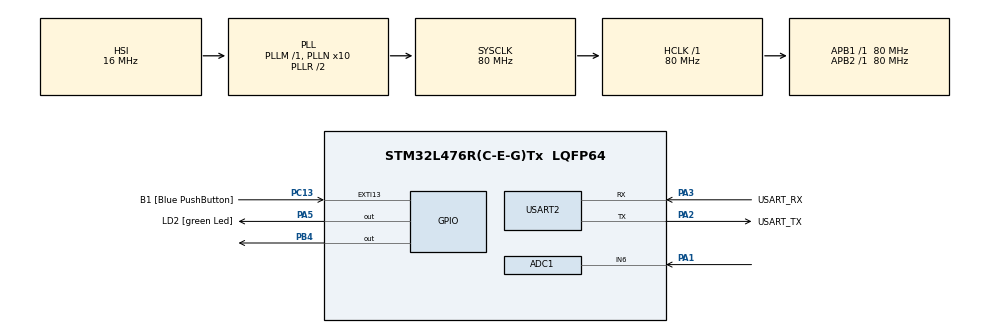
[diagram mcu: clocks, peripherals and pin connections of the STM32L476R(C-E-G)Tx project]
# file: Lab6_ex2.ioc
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ADC1.AWD1HighThreshold=3000
ADC1.AWD1ITMode=ENABLE
ADC1.AWD1LowThreshold=2200
ADC1.Channel-0\#ChannelRegularConversion=ADC_CHANNEL_6
ADC1.EnableAnalogWatchDog1=true
ADC1.NbrOfConversionFlag=1
ADC1.OffsetNumber-0\#ChannelRegularConversion=ADC_OFFSET_NONE
ADC1.Rank-0\#ChannelRegularConversion=1
ADC1.SamplingTime-0\#ChannelRegularConversion=ADC_SAMPLETIME_2CYCLES_5
ADC1.WatchdogChannel=ADC_CHANNEL_6
ADC1.master=1
Mcu.Family=STM32L4
Mcu.Name=STM32L476R(C-E-G)Tx
Mcu.Package=LQFP64
NVIC.ADC1_2_IRQn=true\:0\:0\:false\:false\:true\:true\:true\:true
NVIC.PriorityGroup=NVIC_PRIORITYGROUP_4
PA1.Signal=ADCx_IN6
PA13\ (JTMS-SWDIO).GPIO_Label=TMS
PA13\ (JTMS-SWDIO).Mode=Serial_Wire
PA13\ (JTMS-SWDIO).Signal=SYS_JTMS-SWDIO
PA14\ (JTCK-SWCLK).GPIO_Label=TCK
PA14\ (JTCK-SWCLK).Mode=Serial_Wire
PA14\ (JTCK-SWCLK).Signal=SYS_JTCK-SWCLK
PA2.GPIO_Label=USART_TX
PA2.GPIO_Mode=GPIO_MODE_AF_PP
PA2.GPIO_PuPd=GPIO_NOPULL
PA2.GPIO_Speed=GPIO_SPEED_FREQ_VERY_HIGH
PA2.Mode=Asynchronous
PA2.Signal=USART2_TX
PA3.GPIO_Label=USART_RX
PA3.GPIO_Mode=GPIO_MODE_AF_PP
PA3.GPIO_PuPd=GPIO_NOPULL
PA3.GPIO_Speed=GPIO_SPEED_FREQ_VERY_HIGH
PA3.Mode=Asynchronous
PA3.Signal=USART2_RX
PA5.GPIO_Label=LD2 [green Led]
PA5.GPIO_ModeDefaultOutputPP=GPIO_MODE_OUTPUT_PP
PA5.GPIO_PuPd=GPIO_NOPULL
PA5.GPIO_Speed=GPIO_SPEED_FREQ_LOW
PA5.Signal=GPIO_Output
PB3\ (JTDO-TRACESWO).GPIO_Label=SWO
PB3\ (JTDO-TRACESWO).Signal=SYS_JTDO-SWO
PB4\ (NJTRST).Signal=GPIO_Output
PC13.GPIO_Label=B1 [Blue PushButton]
PC13.GPIO_ModeDefaultEXTI=GPIO_MODE_IT_FALLING
PC13.GPIO_PuPd=GPIO_NOPULL
PC13.Signal=GPXTI13
PC14-OSC32_IN\ (PC14).Mode=LSE-External-Oscillator
PC14-OSC32_IN\ (PC14).Signal=RCC_OSC32_IN
PC15-OSC32_OUT\ (PC15).Mode=LSE-External-Oscillator
PC15-OSC32_OUT\ (PC15).Signal=RCC_OSC32_OUT
PH0-OSC_IN\ (PH0).Signal=RCC_OSC_IN
PH1-OSC_OUT\ (PH1).Signal=RCC_OSC_OUT
ProjectManager.HeapSize=0x200
ProjectManager.StackSize=0x400
ProjectManager.TargetToolchain=STM32CubeIDE
RCC.ADCFreq_Value=64000000
RCC.AHBFreq_Value=80000000
RCC.APB1Freq_Value=80000000
RCC.APB1TimFreq_Value=80000000
RCC.APB2Freq_Value=80000000
RCC.APB2TimFreq_Value=80000000
RCC.CortexFreq_Value=80000000
RCC.HCLKFreq_Value=80000000
RCC.HSE_VALUE=8000000
RCC.HSI_VALUE=16000000
RCC.MSI_VALUE=4000000
RCC.PLLN=10
RCC.PLLSourceVirtual=RCC_PLLSOURCE_HSI
RCC.PREFETCH_ENABLE=1
RCC.SYSCLKFreq_VALUE=80000000
RCC.SYSCLKSource=RCC_SYSCLKSOURCE_PLLCLK
RCC.USBFreq_Value=64000000
RCC.VCOOutputFreq_Value=160000000
SH.ADCx_IN6.0=ADC1_IN6,IN6-Single-Ended
USART2.VirtualMode-Asynchronous=VM_ASYNC
board=NUCLEO-L476RG

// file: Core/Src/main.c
/* USER CODE BEGIN Header */
/**
  ******************************************************************************
  * @file           : main.c
  * @brief          : Main program body
  ******************************************************************************
  * @attention
  *
  * Copyright (c) 2026 STMicroelectronics.
  * All rights reserved.
  *
  * This software is licensed under terms that can be found in the LICENSE file
  * in the root directory of this software component.
  * If no LICENSE file comes with this software, it is provided AS-IS.
  *
  ******************************************************************************
  */
/* USER CODE END Header */
#include "main.h"

/* USER CODE BEGIN Includes */
#include <stdio.h>
#include <string.h>
/* USER CODE END Includes */

ADC_HandleTypeDef hadc1;

UART_HandleTypeDef huart2;

void SystemClock_Config(void);
static void MX_GPIO_Init(void);
static void MX_USART2_UART_Init(void);
static void MX_ADC1_Init(void);
/* USER CODE BEGIN PFP */

//Global variables for ISR
volatile uint32_t g_ldr_count = 0; //volatile means it is a shared variable and therefore may change outside of the main code
volatile uint8_t g_ldr_event = 0;
volatile uint16_t g_adc_last = 0;
char msg[64];
//Read from ADC channel
uint32_t Read_ADC_Channel(uint32_t channel)
{
	ADC_ChannelConfTypeDef sConfig = {0};
	sConfig.Channel = channel;
	sConfig.Rank = ADC_REGULAR_RANK_1;
	sConfig.SamplingTime = ADC_SAMPLETIME_47CYCLES_5;
	HAL_ADC_ConfigChannel(&hadc1, &sConfig);
	HAL_ADC_Start(&hadc1);
	HAL_ADC_PollForConversion(&hadc1, HAL_MAX_DELAY);
	return HAL_ADC_GetValue(&hadc1);
}

//ADC ISR
void HAL_ADC_LevelOutOfWindowCallback(ADC_HandleTypeDef* hadc) {
	if (hadc->Instance == ADC1) {
	g_ldr_count++;
	g_ldr_event = 1; // flag for main loop
	}
}
//Short beep
void Buzzer_Beep(uint32_t ms) {
HAL_GPIO_WritePin(GPIOB, GPIO_PIN_4, GPIO_PIN_SET); // buzzer ON
HAL_Delay(ms);
HAL_GPIO_WritePin(GPIOB, GPIO_PIN_4, GPIO_PIN_RESET); // buzzer OFF
}

/* USER CODE END PFP */

int main(void)
{

  /* MCU Configuration--------------------------------------------------------*/

  /* Reset of all peripherals, Initializes the Flash interface and the Systick. */
  HAL_Init();

  /* Configure the system clock */
  SystemClock_Config();

  /* Initialize all configured peripherals */
  MX_GPIO_Init();
  MX_USART2_UART_Init();
  MX_ADC1_Init();

  /* Infinite loop */
  while (1)
  {

    /* USER CODE BEGIN 3 */

	  if (g_ldr_event)
	      {
	          g_ldr_event = 0;
	          g_adc_last = Read_ADC_Channel(ADC_CHANNEL_6);

	          Buzzer_Beep(50);

	          sprintf(msg, "LDR=%u  Count=%lu\r\n", g_adc_last, g_ldr_count);
	          HAL_UART_Transmit(&huart2, (uint8_t*)msg, strlen(msg), HAL_MAX_DELAY);
	      }
	      else
	      {
	          uint16_t adc = Read_ADC_Channel(ADC_CHANNEL_6);

	          sprintf(msg, "LDR=%u\r\n", adc);
	          HAL_UART_Transmit(&huart2, (uint8_t*)msg, strlen(msg), HAL_MAX_DELAY);

	          HAL_Delay(100);
	      }
  }
  /* USER CODE END 3 */
}

void SystemClock_Config(void)
{
  RCC_OscInitTypeDef RCC_OscInitStruct = {0};
  RCC_ClkInitTypeDef RCC_ClkInitStruct = {0};

  /** Configure the main internal regulator output voltage
  */
  if (HAL_PWREx_ControlVoltageScaling(PWR_REGULATOR_VOLTAGE_SCALE1) != HAL_OK)
  {
    Error_Handler();
  }

  /** Initializes the RCC Oscillators according to the specified parameters
  * in the RCC_OscInitTypeDef structure.
  */
  RCC_OscInitStruct.OscillatorType = RCC_OSCILLATORTYPE_HSI;
  RCC_OscInitStruct.HSIState = RCC_HSI_ON;
  RCC_OscInitStruct.HSICalibrationValue = RCC_HSICALIBRATION_DEFAULT;
  RCC_OscInitStruct.PLL.PLLState = RCC_PLL_ON;
  RCC_OscInitStruct.PLL.PLLSource = RCC_PLLSOURCE_HSI;
  RCC_OscInitStruct.PLL.PLLM = 1;
  RCC_OscInitStruct.PLL.PLLN = 10;
  RCC_OscInitStruct.PLL.PLLP = RCC_PLLP_DIV7;
  RCC_OscInitStruct.PLL.PLLQ = RCC_PLLQ_DIV2;
  RCC_OscInitStruct.PLL.PLLR = RCC_PLLR_DIV2;
  if (HAL_RCC_OscConfig(&RCC_OscInitStruct) != HAL_OK)
  {
    Error_Handler();
  }

  /** Initializes the CPU, AHB and APB buses clocks
  */
  RCC_ClkInitStruct.ClockType = RCC_CLOCKTYPE_HCLK|RCC_CLOCKTYPE_SYSCLK
                              |RCC_CLOCKTYPE_PCLK1|RCC_CLOCKTYPE_PCLK2;
  RCC_ClkInitStruct.SYSCLKSource = RCC_SYSCLKSOURCE_PLLCLK;
  RCC_ClkInitStruct.AHBCLKDivider = RCC_SYSCLK_DIV1;
  RCC_ClkInitStruct.APB1CLKDivider = RCC_HCLK_DIV1;
  RCC_ClkInitStruct.APB2CLKDivider = RCC_HCLK_DIV1;

  if (HAL_RCC_ClockConfig(&RCC_ClkInitStruct, FLASH_LATENCY_4) != HAL_OK)
  {
    Error_Handler();
  }
}

static void MX_ADC1_Init(void)
{

  ADC_MultiModeTypeDef multimode = {0};
  ADC_AnalogWDGConfTypeDef AnalogWDGConfig = {0};
  ADC_ChannelConfTypeDef sConfig = {0};

  /** Common config
  */
  hadc1.Instance = ADC1;
  hadc1.Init.ClockPrescaler = ADC_CLOCK_ASYNC_DIV1;
  hadc1.Init.Resolution = ADC_RESOLUTION_12B;
  hadc1.Init.DataAlign = ADC_DATAALIGN_RIGHT;
  hadc1.Init.ScanConvMode = ADC_SCAN_DISABLE;
  hadc1.Init.EOCSelection = ADC_EOC_SINGLE_CONV;
  hadc1.Init.LowPowerAutoWait = DISABLE;
  hadc1.Init.ContinuousConvMode = DISABLE;
  hadc1.Init.NbrOfConversion = 1;
  hadc1.Init.DiscontinuousConvMode = DISABLE;
  hadc1.Init.ExternalTrigConv = ADC_SOFTWARE_START;
  hadc1.Init.ExternalTrigConvEdge = ADC_EXTERNALTRIGCONVEDGE_NONE;
  hadc1.Init.DMAContinuousRequests = DISABLE;
  hadc1.Init.Overrun = ADC_OVR_DATA_PRESERVED;
  hadc1.Init.OversamplingMode = DISABLE;
  if (HAL_ADC_Init(&hadc1) != HAL_OK)
  {
    Error_Handler();
  }

  /** Configure the ADC multi-mode
  */
  multimode.Mode = ADC_MODE_INDEPENDENT;
  if (HAL_ADCEx_MultiModeConfigChannel(&hadc1, &multimode) != HAL_OK)
  {
    Error_Handler();
  }

  /** Configure Analog WatchDog 1
  */
  AnalogWDGConfig.WatchdogNumber = ADC_ANALOGWATCHDOG_1;
  AnalogWDGConfig.WatchdogMode = ADC_ANALOGWATCHDOG_SINGLE_REG;
  AnalogWDGConfig.Channel = ADC_CHANNEL_6;
  AnalogWDGConfig.ITMode = ENABLE;
  AnalogWDGConfig.HighThreshold = 3000;
  AnalogWDGConfig.LowThreshold = 2200;
  if (HAL_ADC_AnalogWDGConfig(&hadc1, &AnalogWDGConfig) != HAL_OK)
  {
    Error_Handler();
  }

  /** Configure Regular Channel
  */
  sConfig.Channel = ADC_CHANNEL_6;
  sConfig.Rank = ADC_REGULAR_RANK_1;
  sConfig.SamplingTime = ADC_SAMPLETIME_2CYCLES_5;
  sConfig.SingleDiff = ADC_SINGLE_ENDED;
  sConfig.OffsetNumber = ADC_OFFSET_NONE;
  sConfig.Offset = 0;
  if (HAL_ADC_ConfigChannel(&hadc1, &sConfig) != HAL_OK)
  {
    Error_Handler();
  }

}

static void MX_USART2_UART_Init(void)
{

  huart2.Instance = USART2;
  huart2.Init.BaudRate = 115200;
  huart2.Init.WordLength = UART_WORDLENGTH_8B;
  huart2.Init.StopBits = UART_STOPBITS_1;
  huart2.Init.Parity = UART_PARITY_NONE;
  huart2.Init.Mode = UART_MODE_TX_RX;
  huart2.Init.HwFlowCtl = UART_HWCONTROL_NONE;
  huart2.Init.OverSampling = UART_OVERSAMPLING_16;
  huart2.Init.OneBitSampling = UART_ONE_BIT_SAMPLE_DISABLE;
  huart2.AdvancedInit.AdvFeatureInit = UART_ADVFEATURE_NO_INIT;
  if (HAL_UART_Init(&huart2) != HAL_OK)
  {
    Error_Handler();
  }

}

static void MX_GPIO_Init(void)
{
  GPIO_InitTypeDef GPIO_InitStruct = {0};

  /* GPIO Ports Clock Enable */
  __HAL_RCC_GPIOC_CLK_ENABLE();
  __HAL_RCC_GPIOH_CLK_ENABLE();
  __HAL_RCC_GPIOA_CLK_ENABLE();
  __HAL_RCC_GPIOB_CLK_ENABLE();

  /*Configure GPIO pin Output Level */
  HAL_GPIO_WritePin(LD2_GPIO_Port, LD2_Pin, GPIO_PIN_RESET);

  /*Configure GPIO pin Output Level */
  HAL_GPIO_WritePin(GPIOB, GPIO_PIN_4, GPIO_PIN_RESET);

  /*Configure GPIO pin : B1_Pin */
  GPIO_InitStruct.Pin = B1_Pin;
  GPIO_InitStruct.Mode = GPIO_MODE_IT_FALLING;
  GPIO_InitStruct.Pull = GPIO_NOPULL;
  HAL_GPIO_Init(B1_GPIO_Port, &GPIO_InitStruct);

  /*Configure GPIO pin : LD2_Pin */
  GPIO_InitStruct.Pin = LD2_Pin;
  GPIO_InitStruct.Mode = GPIO_MODE_OUTPUT_PP;
  GPIO_InitStruct.Pull = GPIO_NOPULL;
  GPIO_InitStruct.Speed = GPIO_SPEED_FREQ_LOW;
  HAL_GPIO_Init(LD2_GPIO_Port, &GPIO_InitStruct);

  /*Configure GPIO pin : PB4 */
  GPIO_InitStruct.Pin = GPIO_PIN_4;
  GPIO_InitStruct.Mode = GPIO_MODE_OUTPUT_PP;
  GPIO_InitStruct.Pull = GPIO_NOPULL;
  GPIO_InitStruct.Speed = GPIO_SPEED_FREQ_LOW;
  HAL_GPIO_Init(GPIOB, &GPIO_InitStruct);

}

void Error_Handler(void)
{
  __disable_irq();
  while (1)
  {
  }
}
